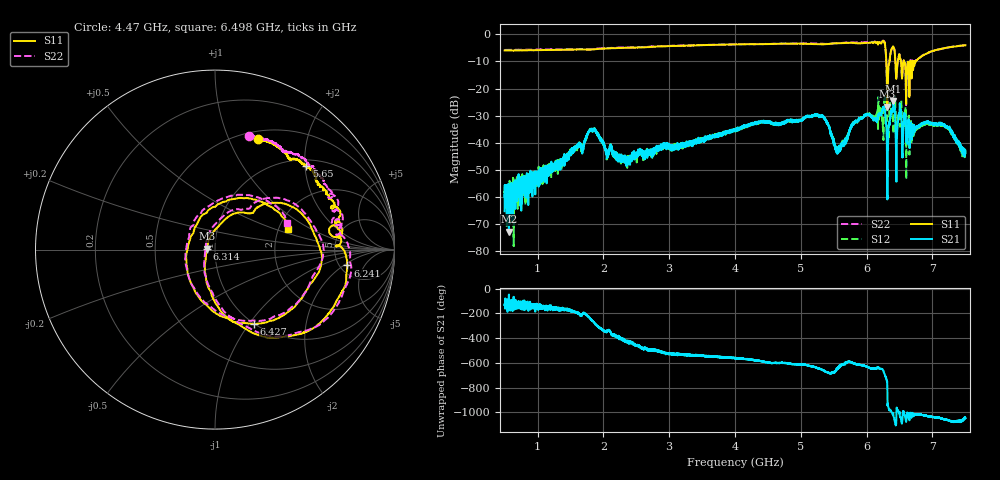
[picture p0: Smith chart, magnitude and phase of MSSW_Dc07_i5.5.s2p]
!Keysight Technologies,M9374A,MY55442783,A.12.55.05
!Date: Thursday, May 20, 2021 16:12:31
!Correction: S11(Full 2 Port(1,2))
!S21(Full 2 Port(1,2))
!S12(Full 2 Port(1,2))
!S22(Full 2 Port(1,2))
!S2P File: Measurements: S11, S21, S12, S22:
# Hz S  RI  R 50
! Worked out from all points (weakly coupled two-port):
!   7001 points, 500 MHz to 7.5 GHz, reference 50 ohm
!   highest |S21| = -24.59 dB at 6.406 GHz (marker M1); lowest = -72.7 dB at 565 MHz (marker M2)
!   lowest |S11| = -26.7 dB at 6.314 GHz (marker M3), VSWR 1.10, Z = 45.6 + j0.484 ohm
!   |S11| at or under -10 dB: 6.298 GHz to 6.347 GHz (48.24 MHz wide, 0.763 % of centre); 6.436 GHz to 6.472 GHz (36.02 MHz wide, 0.558 % of centre); 6.568 GHz to 6.662 GHz (93.35 MHz wide, 1.41 % of centre) (the widest 3 of 9)
!   |S22| runs from -26.1 to -2.3 dB; largest |S21 - S12| = 0.072
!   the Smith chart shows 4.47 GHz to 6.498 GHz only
!   S11 on the Smith chart (normalised r, x): 4.47 GHz: 0.59, +1.28; 5.65 GHz: 1.14, +2.03; 6.241 GHz: 5.85, -2.31; 6.314 GHz: 0.91, +0.01; 6.427 GHz: 1.00, -1.06; 6.498 GHz: 2.26, +0.63
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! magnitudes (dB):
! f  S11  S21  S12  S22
! 500 MHz  -6.0  -65.3  -58.6  -5.8
! 565 MHz  -6.0  -72.7  -58.0  -5.7
! 1.667 GHz  -5.6  -41.4  -43.1  -5.5
! 1.837 GHz  -5.6  -35.7  -35.5  -5.5
! 2.343 GHz  -5.0  -46.5  -46.7  -4.8
! 2.834 GHz  -4.5  -41.6  -42.4  -4.4
! 4 GHz  -3.7  -35.5  -35.2  -3.7
! 4.47 GHz  -3.6  -32.4  -32.4  -3.6
! 5.167 GHz  -3.6  -30.1  -30.4  -3.4
! 5.356 GHz  -3.7  -30.7  -30.9  -3.5
! 5.552 GHz  -3.3  -42.9  -43.0  -3.3
! 5.65 GHz  -3.2  -39.6  -39.7  -3.1
! 5.814 GHz  -3.2  -32.5  -32.5  -3.0
! 6.241 GHz  -2.6  -27.9  -31.6  -2.5
! 6.314 GHz  -26.7  -60.9  -36.3  -25.5
! 6.334 GHz  -11.5  -34.1  -37.7  -11.5
! 6.406 GHz  -4.8  -24.6  -34.7  -4.7
! 6.427 GHz  -6.6  -28.2  -22.9  -6.6
! 6.498 GHz  -7.5  -30.3  -29.5  -7.4
! 6.622 GHz  -10.8  -35.9  -38.0  -10.4
! 7.152 GHz  -5.3  -33.1  -33.8  -5.3
! 7.5 GHz  -4.0  -43.6  -43.0  -4.1
